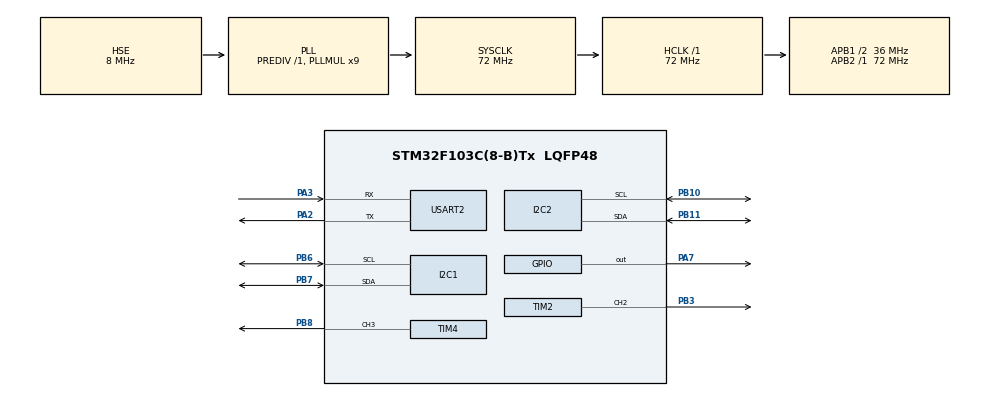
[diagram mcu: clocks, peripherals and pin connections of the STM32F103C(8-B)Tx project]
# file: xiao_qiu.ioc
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I2C1.I2C_Mode=I2C_Fast
I2C2.I2C_Mode=I2C_Fast
Mcu.Family=STM32F1
Mcu.Name=STM32F103C(8-B)Tx
Mcu.Package=LQFP48
NVIC.PriorityGroup=NVIC_PRIORITYGROUP_4
NVIC.TIM3_IRQn=true\:0\:0\:false\:false\:true\:true\:true\:true
NVIC.USART2_IRQn=true\:0\:0\:false\:false\:true\:true\:true\:true
PA13.Mode=Serial_Wire
PA13.Signal=SYS_JTMS-SWDIO
PA14.Mode=Serial_Wire
PA14.Signal=SYS_JTCK-SWCLK
PA2.Mode=Asynchronous
PA2.Signal=USART2_TX
PA3.Mode=Asynchronous
PA3.Signal=USART2_RX
PA7.Signal=GPIO_Output
PB10.Mode=I2C
PB10.Signal=I2C2_SCL
PB11.Mode=I2C
PB11.Signal=I2C2_SDA
PB3.Signal=S_TIM2_CH2
PB6.Mode=I2C
PB6.Signal=I2C1_SCL
PB7.Mode=I2C
PB7.Signal=I2C1_SDA
PB8.Signal=S_TIM4_CH3
PD0-OSC_IN.Mode=HSE-External-Oscillator
PD0-OSC_IN.Signal=RCC_OSC_IN
PD1-OSC_OUT.Mode=HSE-External-Oscillator
PD1-OSC_OUT.Signal=RCC_OSC_OUT
ProjectManager.HeapSize=0x200
ProjectManager.StackSize=0x400
ProjectManager.TargetToolchain=STM32CubeIDE
RCC.AHBFreq_Value=72000000
RCC.APB1CLKDivider=RCC_HCLK_DIV2
RCC.APB1Freq_Value=36000000
RCC.APB1TimFreq_Value=72000000
RCC.APB2Freq_Value=72000000
RCC.APB2TimFreq_Value=72000000
RCC.HCLKFreq_Value=72000000
RCC.PLLMUL=RCC_PLL_MUL9
RCC.PLLSourceVirtual=RCC_PLLSOURCE_HSE
RCC.SYSCLKFreq_VALUE=72000000
RCC.SYSCLKSource=RCC_SYSCLKSOURCE_PLLCLK
RCC.USBFreq_Value=72000000
SH.S_TIM2_CH2.0=TIM2_CH2,PWM Generation2 CH2
SH.S_TIM4_CH3.0=TIM4_CH3,PWM Generation3 CH3
TIM2.Channel-PWM\ Generation2\ CH2=TIM_CHANNEL_2
TIM2.Period=2000-1
TIM2.Prescaler=720-1
TIM3.Period=25000
TIM3.Prescaler=7199
TIM4.Channel-PWM\ Generation3\ CH3=TIM_CHANNEL_3
TIM4.Period=2000-1
TIM4.Prescaler=720-1
USART2.VirtualMode=VM_ASYNC
VP_TIM2_VS_ClockSourceINT.Mode=Internal
VP_TIM3_VS_ClockSourceINT.Mode=Internal
VP_TIM4_VS_ClockSourceINT.Mode=Internal
board=custom

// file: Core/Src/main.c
/* USER CODE BEGIN Header */
/**
 ******************************************************************************
 * @file           : main.c
 * @brief          : Main program body
 ******************************************************************************
 * @attention
 *
 * Copyright (c) 2022 STMicroelectronics.
 * All rights reserved.
 *
 * This software is licensed under terms that can be found in the LICENSE file
 * in the root directory of this software component.
 * If no LICENSE file comes with this software, it is provided AS-IS.
 *
 ******************************************************************************
 */
/* USER CODE END Header */
#include "main.h"
#include "i2c.h"
#include "tim.h"
#include "usart.h"
#include "gpio.h"

/* USER CODE BEGIN Includes */
#include "string.h"
#include "oled.h"
#include <stdio.h>
/* USER CODE END Includes */

/* USER CODE BEGIN PD */
#define RECEIVE_BUFFER_SIZE 1
/* USER CODE END PD */

/* USER CODE BEGIN PV */
uint8_t data = 0;
uint8_t SSS[RECEIVE_BUFFER_SIZE];

int count = 0;
int abc = 0;
int bcd = 0;
int cde = 0;
int pink = 0;
int qing = 0;
int orgic = 0;

char buf[10] = {0};
char aaa[10] = {0};
char bbb[10] = {0};
char ccc[10] = {0};
char ddd[10] = {0};
char eee[10] = {0};
char fff[10] = {0};

/* USER CODE END PV */

void SystemClock_Config(void);

/* USER CODE BEGIN 0 */

void HAL_UART_RxCpltCallback(UART_HandleTypeDef *huart) {

	if (SSS[0] != data) {
	        data = SSS[0];  // 更新上一次接收到的数据

	        // 根据接收到的数据更新OLED上的小球计数
	        switch (SSS[0]) {  case '6': pink++; __HAL_TIM_SET_COMPARE(&htim2, TIM_CHANNEL_2, 100); break;//粉色
	                           case '2': count++; __HAL_TIM_SET_COMPARE(&htim2, TIM_CHANNEL_2, 120); break;//蓝色
	      	                   case '3': abc++; __HAL_TIM_SET_COMPARE(&htim2, TIM_CHANNEL_2, 145); break;//红色
	      	                   case '4': bcd++; __HAL_TIM_SET_COMPARE(&htim2, TIM_CHANNEL_2, 168); break;//绿色
	      	                   case '5': cde++; __HAL_TIM_SET_COMPARE(&htim2, TIM_CHANNEL_2, 195); break;//黄色
	      	                 case '7': qing++; __HAL_TIM_SET_COMPARE(&htim2, TIM_CHANNEL_2, 214); break;//青色
	      	               case '8': orgic++; __HAL_TIM_SET_COMPARE(&htim2, TIM_CHANNEL_2, 229); break;//橙色
	    }
	}

    HAL_UART_Receive_IT(&huart2, SSS, RECEIVE_BUFFER_SIZE);
}
void updateDisplay() {
	    sprintf(buf, "%d ", count);
	    sprintf(aaa, "%d ", abc);
	    sprintf(bbb, "%d ", bcd);
	    sprintf(ccc, "%d ", cde);
	    sprintf(ddd, "%d ", pink);
	    sprintf(eee, "%d ", qing);
	    sprintf(fff, "%d ", orgic);
	    OLED_PrintString(16, 0, buf, &font16x16, OLED_COLOR_NORMAL);
	    OLED_PrintString(16, 16, aaa, &font16x16, OLED_COLOR_NORMAL);
	    OLED_PrintString(16, 32, bbb, &font16x16, OLED_COLOR_NORMAL);
	    OLED_PrintString(16, 48, ccc, &font16x16, OLED_COLOR_NORMAL);
	    OLED_PrintString(48, 0, ddd, &font16x16, OLED_COLOR_NORMAL);
	    OLED_PrintString(48, 16, eee, &font16x16, OLED_COLOR_NORMAL);
	    OLED_PrintString(48, 32, fff, &font16x16, OLED_COLOR_NORMAL);
	    OLED_ShowFrame();
	}

/* USER CODE END 0 */

int main(void)
{

  /* MCU Configuration--------------------------------------------------------*/

  /* Reset of all peripherals, Initializes the Flash interface and the Systick. */
  HAL_Init();

  /* Configure the system clock */
  SystemClock_Config();

  /* Initialize all configured peripherals */
  MX_GPIO_Init();
  MX_I2C1_Init();
  MX_TIM2_Init();
  MX_TIM4_Init();
  MX_USART2_UART_Init();
  MX_TIM3_Init();
  MX_I2C2_Init();
  /* USER CODE BEGIN 2 */
  HAL_UART_Receive_IT(&huart2, SSS, RECEIVE_BUFFER_SIZE);

    HAL_TIM_PWM_Start(&htim4, TIM_CHANNEL_3);
    HAL_TIM_PWM_Start(&htim2, TIM_CHANNEL_2);

    HAL_Delay(100); // 单片机启动比OLED上电�??,�??要延迟等�??
    OLED_Init();

    OLED_NewFrame();
    OLED_PrintString(0, 0, "蓝", &font16x16, OLED_COLOR_NORMAL);
        OLED_PrintString(0, 16, "红", &font16x16, OLED_COLOR_NORMAL);
        OLED_PrintString(0, 32, "绿", &font16x16, OLED_COLOR_NORMAL);
        OLED_PrintString(0, 48, "黄", &font16x16, OLED_COLOR_NORMAL);
        OLED_PrintString(32, 0, "粉", &font16x16, OLED_COLOR_NORMAL);
        OLED_PrintString(32, 16, "浅", &font16x16, OLED_COLOR_NORMAL);
        OLED_PrintString(32, 32, "橙", &font16x16, OLED_COLOR_NORMAL);
    OLED_ShowFrame();
  /* USER CODE END 2 */

  /* Infinite loop */
  /* USER CODE BEGIN WHILE */
    while(1){
    	updateDisplay();
    	 // 舵机控制占空比范围2.5% ~ 12.5%
    	    // Counter Period设置的是2000，因此占空比设置范围是50 ~ 250

    	    // 中点，占空比7.5%，即2000 * 7.5% = 150
    	    __HAL_TIM_SET_COMPARE(&htim4, TIM_CHANNEL_3, 170);

    	    HAL_Delay(1500);
    	    // 向左转，占空比2.5%，即2000 * 2.5% = 50
    	    __HAL_TIM_SET_COMPARE(&htim4, TIM_CHANNEL_3, 120);
    	    HAL_Delay(1500);

    	    // 向右转，占空比12.5%，即2000 * 12.5% = 250
    	    __HAL_TIM_SET_COMPARE(&htim4, TIM_CHANNEL_3, 50);
    	    HAL_Delay(2000);

    /* USER CODE END WHILE */

    }
}

void SystemClock_Config(void)
{
  RCC_OscInitTypeDef RCC_OscInitStruct = {0};
  RCC_ClkInitTypeDef RCC_ClkInitStruct = {0};

  /** Initializes the RCC Oscillators according to the specified parameters
  * in the RCC_OscInitTypeDef structure.
  */
  RCC_OscInitStruct.OscillatorType = RCC_OSCILLATORTYPE_HSE;
  RCC_OscInitStruct.HSEState = RCC_HSE_ON;
  RCC_OscInitStruct.HSEPredivValue = RCC_HSE_PREDIV_DIV1;
  RCC_OscInitStruct.HSIState = RCC_HSI_ON;
  RCC_OscInitStruct.PLL.PLLState = RCC_PLL_ON;
  RCC_OscInitStruct.PLL.PLLSource = RCC_PLLSOURCE_HSE;
  RCC_OscInitStruct.PLL.PLLMUL = RCC_PLL_MUL9;
  if (HAL_RCC_OscConfig(&RCC_OscInitStruct) != HAL_OK)
  {
    Error_Handler();
  }

  /** Initializes the CPU, AHB and APB buses clocks
  */
  RCC_ClkInitStruct.ClockType = RCC_CLOCKTYPE_HCLK|RCC_CLOCKTYPE_SYSCLK
                              |RCC_CLOCKTYPE_PCLK1|RCC_CLOCKTYPE_PCLK2;
  RCC_ClkInitStruct.SYSCLKSource = RCC_SYSCLKSOURCE_PLLCLK;
  RCC_ClkInitStruct.AHBCLKDivider = RCC_SYSCLK_DIV1;
  RCC_ClkInitStruct.APB1CLKDivider = RCC_HCLK_DIV2;
  RCC_ClkInitStruct.APB2CLKDivider = RCC_HCLK_DIV1;

  if (HAL_RCC_ClockConfig(&RCC_ClkInitStruct, FLASH_LATENCY_2) != HAL_OK)
  {
    Error_Handler();
  }
}

void Error_Handler(void)
{
  __disable_irq();
  while (1)
  {
  }
}
